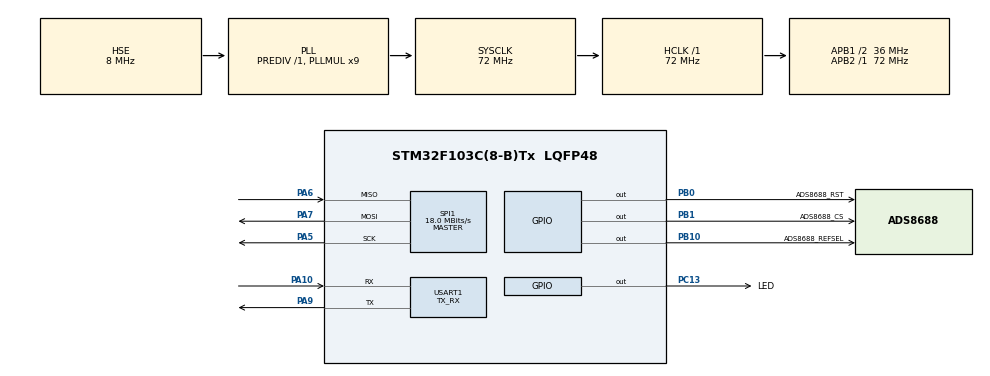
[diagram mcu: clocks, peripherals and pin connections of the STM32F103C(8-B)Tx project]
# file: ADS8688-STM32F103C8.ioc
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Mcu.Family=STM32F1
Mcu.Name=STM32F103C(8-B)Tx
Mcu.Package=LQFP48
NVIC.PriorityGroup=NVIC_PRIORITYGROUP_4
NVIC.TIM2_IRQn=true\:0\:0\:false\:false\:true\:true\:true\:true
PA10.Mode=Asynchronous
PA10.Signal=USART1_RX
PA13.Mode=Serial_Wire
PA13.Signal=SYS_JTMS-SWDIO
PA14.Mode=Serial_Wire
PA14.Signal=SYS_JTCK-SWCLK
PA5.Mode=Full_Duplex_Master
PA5.Signal=SPI1_SCK
PA6.Mode=Full_Duplex_Master
PA6.Signal=SPI1_MISO
PA7.Mode=Full_Duplex_Master
PA7.Signal=SPI1_MOSI
PA9.Mode=Asynchronous
PA9.Signal=USART1_TX
PB0.GPIO_Label=ADS8688_RST
PB0.Signal=GPIO_Output
PB1.GPIO_Label=ADS8688_CS
PB1.Signal=GPIO_Output
PB10.GPIO_Label=ADS8688_REFSEL
PB10.Signal=GPIO_Output
PC13-TAMPER-RTC.GPIO_Label=LED
PC13-TAMPER-RTC.Signal=GPIO_Output
PD0-OSC_IN.Mode=HSE-External-Oscillator
PD0-OSC_IN.Signal=RCC_OSC_IN
PD1-OSC_OUT.Mode=HSE-External-Oscillator
PD1-OSC_OUT.Signal=RCC_OSC_OUT
ProjectManager.HeapSize=0x200
ProjectManager.StackSize=0x400
ProjectManager.TargetToolchain=STM32CubeIDE
RCC.AHBFreq_Value=72000000
RCC.APB1CLKDivider=RCC_HCLK_DIV2
RCC.APB1Freq_Value=36000000
RCC.APB1TimFreq_Value=72000000
RCC.APB2Freq_Value=72000000
RCC.APB2TimFreq_Value=72000000
RCC.HCLKFreq_Value=72000000
RCC.PLLMUL=RCC_PLL_MUL9
RCC.PLLSourceVirtual=RCC_PLLSOURCE_HSE
RCC.SYSCLKFreq_VALUE=72000000
RCC.SYSCLKSource=RCC_SYSCLKSOURCE_PLLCLK
RCC.USBFreq_Value=72000000
SPI1.BaudRatePrescaler=SPI_BAUDRATEPRESCALER_4
SPI1.CLKPhase=SPI_PHASE_2EDGE
SPI1.CalculateBaudRate=18.0 MBits/s
SPI1.DataSize=SPI_DATASIZE_16BIT
SPI1.Direction=SPI_DIRECTION_2LINES
SPI1.Mode=SPI_MODE_MASTER
SPI1.VirtualType=VM_MASTER
TIM2.AutoReloadPreload=TIM_AUTORELOAD_PRELOAD_ENABLE
TIM2.Period=19
TIM2.Prescaler=71
USART1.Mode=MODE_TX_RX
USART1.VirtualMode=VM_ASYNC
VP_TIM2_VS_ClockSourceINT.Mode=Internal
board=custom

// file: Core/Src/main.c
/* USER CODE BEGIN Header */
/**
 ******************************************************************************
 * @file           : main.c
 * @brief          : Main program body
 ******************************************************************************
 * @attention
 *
 * Copyright (c) 2025 STMicroelectronics.
 * All rights reserved.
 *
 * This software is licensed under terms that can be found in the LICENSE file
 * in the root directory of this software component.
 * If no LICENSE file comes with this software, it is provided AS-IS.
 *
 ******************************************************************************
 */
/* USER CODE END Header */
#include "main.h"
#include "spi.h"
#include "tim.h"
#include "usart.h"
#include "gpio.h"

/* USER CODE BEGIN Includes */
#include "ads8688.h"
#include <stdio.h>
#include <string.h>
/* USER CODE END Includes */

/* USER CODE BEGIN PV */
// 外部变量声明
extern UART_HandleTypeDef huart1;

// SPI_HandleTypeDef hspi1;

// ADS变量
ADS8688_HandleTypeDef ads; // 这个设计对一个STM32接入多个ADS8688友好
uint16_t ads_data[8] = {0};
float voltage[8] = {0};

// ADS8688参考电压定义（根据实际硬件电路设置）
#define ADS8688_VREF 4.096f // 参考电压为4.096V（内部参考电压典型值）

// 存储当前通道范围设置，用于正确的电压转换
uint8_t current_channel_ranges[ADS8688_NUM_CHANNELS];

// 定时器中断采样相关变量
volatile uint8_t sampling_flag = 0;    // 采样标志位，在定时器中断中设置
volatile uint32_t sample_count = 0;    // 采样计数器
volatile uint8_t sampling_enabled = 1; // 采样使能标志，可用于暂停/恢复采样

// 历史记录相关变量
#define HISTORY_SIZE 512  // 历史记录缓冲区大小
float history_buffer[ADS8688_NUM_CHANNELS][HISTORY_SIZE]={0};  // 历史数据缓冲区
volatile uint16_t history_index = 0;  // 当前写入位置
volatile uint8_t history_full = 0;    // 历史缓冲区是否已满标志
volatile uint8_t send_data_flag = 0;  // 发送数据标志

/*
 * 历史记录功能说明：
 * 1. 使用循环缓冲区存储最近的HISTORY_SIZE个采样数据
 * 2. 支持按通道和时间索引查询历史数据
 * 3. 提供统计功能如获取最新N个数据
 * 4. 内存使用：8通道 × 512个数据点 × 4字节 = 16.384KB
 * 5. 缓冲区满时通过USART1发送全部数据
 */

/* USER CODE END PV */

void SystemClock_Config(void);

int main(void)
{

  /* MCU Configuration--------------------------------------------------------*/

  /* Reset of all peripherals, Initializes the Flash interface and the Systick. */
  HAL_Init();

  /* Configure the system clock */
  SystemClock_Config();

  /* Initialize all configured peripherals */
  MX_GPIO_Init();
  MX_SPI1_Init();
  MX_TIM2_Init();
  MX_USART1_UART_Init();
  /* USER CODE BEGIN 2 */
  // 初始化ADS8688复位引脚
  HAL_GPIO_WritePin(ADS8688_RST_GPIO_Port, ADS8688_RST_Pin, GPIO_PIN_SET);

  // 初始化ADS8688
  ADS8688_Init(&ads, &hspi1, ADS8688_CS_GPIO_Port, ADS8688_CS_Pin);

  // 设置通道输入范围（在初始化之后重新配置）
  uint8_t channel_ranges[ADS8688_NUM_CHANNELS] = {
      ADS8688_RANGE_UNIPOLAR_1_25_VREF, // 通道0: 0 to 1.25 × VREF (0-5.12V)
      ADS8688_RANGE_UNIPOLAR_1_25_VREF, // 通道1: 0 to 1.25 × VREF (0-5.12V)
      ADS8688_RANGE_BIPOLAR_2_5_VREF,   // 通道2: ±2.5 × VREF (±10.24V)
      ADS8688_RANGE_BIPOLAR_2_5_VREF,   // 通道3: ±2.5 × VREF (±10.24V)
      ADS8688_RANGE_BIPOLAR_2_5_VREF,   // 通道4: ±2.5 × VREF (±10.24V)
      ADS8688_RANGE_BIPOLAR_2_5_VREF,   // 通道5: ±2.5 × VREF (±10.24V)
      ADS8688_RANGE_BIPOLAR_2_5_VREF,   // 通道6: ±2.5 × VREF (±10.24V)
      ADS8688_RANGE_BIPOLAR_2_5_VREF    // 通道7: ±2.5 × VREF (±10.24V)
  };
  // 应用通道范围配置
  ADS8688_SetChannelRanges(&ads, channel_ranges);

  // 保存当前通道范围设置以便后续电压转换使用
  for (int i = 0; i < ADS8688_NUM_CHANNELS; i++)
  {
    current_channel_ranges[i] = channel_ranges[i];
  }

  ADS8688_SetActiveChannels(&ads, 0b00000011); // 只采集通道0和1，提高采样率

  // 发送启动信息
  char start_msg[] = "\r\n=== ADS8688 Data Acquisition System Started ===\r\n";
  HAL_UART_Transmit(&huart1, (uint8_t*)start_msg, strlen(start_msg), HAL_MAX_DELAY);

  // 启动定时器中断，开始定时采样
  HAL_TIM_Base_Start_IT(&htim2); // 启动TIM2中断
  /* USER CODE END 2 */

  /* Infinite loop */
  /* USER CODE BEGIN WHILE */
  while (1)
  {
    // 等待定时器中断设置采样标志
    if (sampling_flag)
    {
      sampling_flag = 0; // 清除采样标志

      // 执行采样操作
      ADS8688_ReadAllChannelsRaw(&ads, ads_data);

      // 使用专用的电压转换函数将原始数据转换为实际电压
      for (int i = 0; i < ADS8688_NUM_CHANNELS; i++)
      {
        voltage[i] = ADS8688_ConvertToVoltage(ads_data[i], current_channel_ranges[i], ADS8688_VREF);
      }

      // 将原始数据存储到历史记录缓冲区
      for (int i = 0; i < ADS8688_NUM_CHANNELS; i++)
      {
        history_buffer[i][history_index] = voltage[i];
      }

      // 更新历史记录索引（循环缓冲区）
      history_index++;
      if (history_index >= HISTORY_SIZE)
      {
        history_index = 0;
        history_full = 1;  // 标记缓冲区已满
        send_data_flag = 1; // 每次缓冲区满时都设置发送数据标志
      }

      // 增加采样计数
      sample_count++;

      // 可以在这里添加调试输出或其他处理
      // 例如：通过串口输出电压值等
      // 为了避免影响定时采样，建议使用缓冲区或状态机处理数据输出
    }

    // 检查是否需要发送历史数据
    if (send_data_flag)
    {
      send_data_flag = 0; // 清除发送标志

      // 暂停采样以避免发送过程中数据被覆盖
      uint8_t temp_sampling_enabled = sampling_enabled;
      sampling_enabled = 0;

      // 发送缓冲区数据
      ADS8688_SendHistoryData();

      // 恢复采样
      sampling_enabled = temp_sampling_enabled;
    }

    // 可以在这里添加其他非时间关键的任务
    // 例如：处理串口通信、LED指示等

    /* USER CODE END WHILE */

  }
}

void SystemClock_Config(void)
{
  RCC_OscInitTypeDef RCC_OscInitStruct = {0};
  RCC_ClkInitTypeDef RCC_ClkInitStruct = {0};

  /** Initializes the RCC Oscillators according to the specified parameters
  * in the RCC_OscInitTypeDef structure.
  */
  RCC_OscInitStruct.OscillatorType = RCC_OSCILLATORTYPE_HSE;
  RCC_OscInitStruct.HSEState = RCC_HSE_ON;
  RCC_OscInitStruct.HSEPredivValue = RCC_HSE_PREDIV_DIV1;
  RCC_OscInitStruct.HSIState = RCC_HSI_ON;
  RCC_OscInitStruct.PLL.PLLState = RCC_PLL_ON;
  RCC_OscInitStruct.PLL.PLLSource = RCC_PLLSOURCE_HSE;
  RCC_OscInitStruct.PLL.PLLMUL = RCC_PLL_MUL9;
  if (HAL_RCC_OscConfig(&RCC_OscInitStruct) != HAL_OK)
  {
    Error_Handler();
  }

  /** Initializes the CPU, AHB and APB buses clocks
  */
  RCC_ClkInitStruct.ClockType = RCC_CLOCKTYPE_HCLK|RCC_CLOCKTYPE_SYSCLK
                              |RCC_CLOCKTYPE_PCLK1|RCC_CLOCKTYPE_PCLK2;
  RCC_ClkInitStruct.SYSCLKSource = RCC_SYSCLKSOURCE_PLLCLK;
  RCC_ClkInitStruct.AHBCLKDivider = RCC_SYSCLK_DIV1;
  RCC_ClkInitStruct.APB1CLKDivider = RCC_HCLK_DIV2;
  RCC_ClkInitStruct.APB2CLKDivider = RCC_HCLK_DIV1;

  if (HAL_RCC_ClockConfig(&RCC_ClkInitStruct, FLASH_LATENCY_2) != HAL_OK)
  {
    Error_Handler();
  }
}

/* USER CODE BEGIN 4 */

/**
 * @brief 定时器中断回调函数
 * @param htim: 定时器句柄
 * @retval None
 */
void HAL_TIM_PeriodElapsedCallback(TIM_HandleTypeDef *htim)
{
  if (htim->Instance == TIM2) // 确保是TIM2中断
  {
    if (sampling_enabled) // 检查采样使能标志
    {
      sampling_flag = 1; // 设置采样标志，通知主循环执行采样
    }
  }
}

/**
 * @brief 控制采样的启动和停止
 * @param enable: 1-启动采样，0-停止采样
 * @retval None
 */
void ADS8688_SetSamplingEnabled(uint8_t enable)
{
  sampling_enabled = enable;
}

/**
 * @brief 通过USART1发送历史数据
 * @retval None
 */
void ADS8688_SendHistoryData(void)
{
  char buffer[200];

  // 发送开始标记
  sprintf(buffer, "\r\n=== ADS8688 History Data (Sample Count: %lu) ===\r\n", sample_count);
  HAL_UART_Transmit(&huart1, (uint8_t*)buffer, strlen(buffer), HAL_MAX_DELAY);

  // 发送表头
  sprintf(buffer, "Index,CH0(V),CH1(V),CH2(V),CH3(V),CH4(V),CH5(V),CH6(V),CH7(V)\r\n");
  HAL_UART_Transmit(&huart1, (uint8_t*)buffer, strlen(buffer), HAL_MAX_DELAY);

  // 发送数据
  for (uint16_t i = 0; i < HISTORY_SIZE; i++)
  {
    // 计算实际的数据索引（按时间顺序）
    uint16_t actual_index = (history_index + i) % HISTORY_SIZE;

    sprintf(buffer, "%d,%.4f,%.4f,%.4f,%.4f,%.4f,%.4f,%.4f,%.4f\r\n",
            i,
            history_buffer[0][actual_index],
            history_buffer[1][actual_index],
            history_buffer[2][actual_index],
            history_buffer[3][actual_index],
            history_buffer[4][actual_index],
            history_buffer[5][actual_index],
            history_buffer[6][actual_index],
            history_buffer[7][actual_index]);

    HAL_UART_Transmit(&huart1, (uint8_t*)buffer, strlen(buffer), HAL_MAX_DELAY);

  // 发送结束标记
  sprintf(buffer, "=== End of History Data ===\r\n\r\n");
  HAL_UART_Transmit(&huart1, (uint8_t*)buffer, strlen(buffer), HAL_MAX_DELAY);
  HAL_Delay(5);

  // 可选：发送完成后重置缓冲区状态，便于下一次数据收集
  // 注意：这里不清空数据，只是重置状态标志
  // history_full = 0;  // 取消注释此行可以重置缓冲区满标志
}

/**
 * @brief 获取当前采样计数
 * @retval 当前采样计数值
 */
uint32_t ADS8688_GetSampleCount(void)
{
  return sample_count;
}

/**
 * @brief 重置采样计数
 * @retval None
 */
void ADS8688_ResetSampleCount(void)
{
  sample_count = 0;
}

/* USER CODE END 4 */

void Error_Handler(void)
{
  __disable_irq();
  while (1)
  {
  }
}
